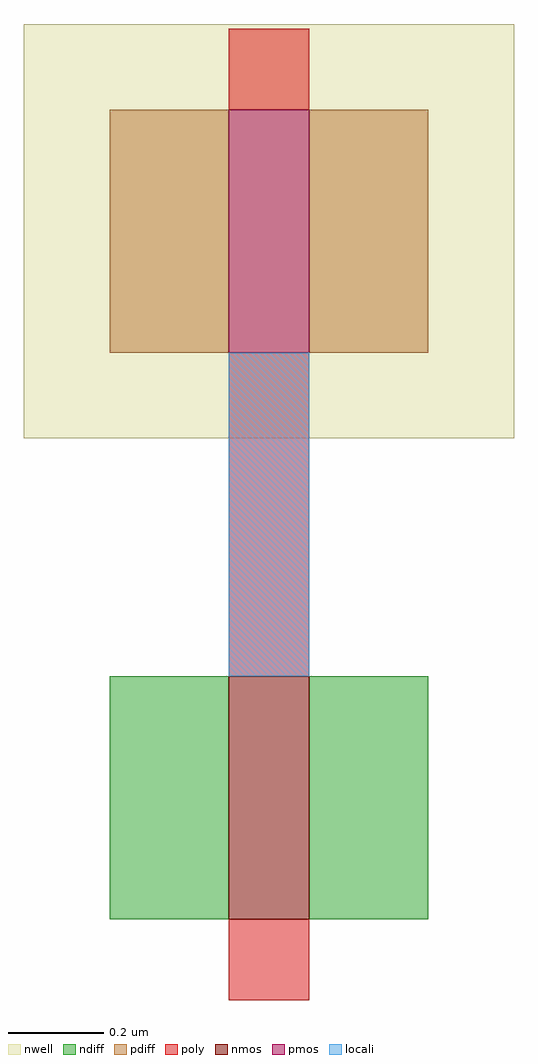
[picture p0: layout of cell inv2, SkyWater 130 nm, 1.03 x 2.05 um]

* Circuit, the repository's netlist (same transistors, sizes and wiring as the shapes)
* NGSPICE file created from inv2.ext - technology: sky130A

.subckt inv2
X0 a_136_68# a_102_34# a_52_68# VSUBS sky130_fd_pr__nfet_01v8 ad=0.1275 pd=1.52 as=0.1275 ps=1.52 w=0.51 l=0.17
X1 a_136_306# a_102_34# a_52_306# w_16_270# sky130_fd_pr__pfet_01v8 ad=0.1275 pd=1.52 as=0.1275 ps=1.52 w=0.51 l=0.17
.ends

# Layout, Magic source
magic
tech sky130A
<< nwell >>
rect 8 135 111 222
<< nmos >>
rect 51 34 68 85
<< pmos >>
rect 51 153 68 204
<< ndiff >>
rect 26 34 51 85
rect 68 34 93 85
<< pdiff >>
rect 26 153 51 204
rect 68 153 93 204
<< poly >>
rect 51 204 68 221
rect 51 85 68 153
rect 51 17 68 34
<< locali >>
rect 51 85 68 153
<< end >>
